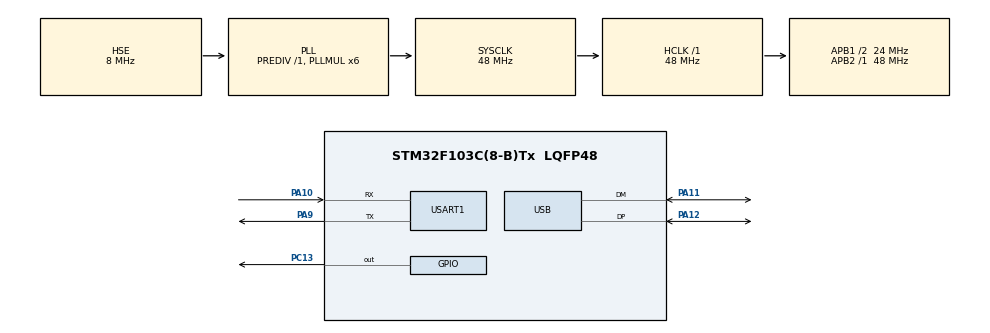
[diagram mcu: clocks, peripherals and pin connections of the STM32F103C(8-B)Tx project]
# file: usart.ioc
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Dma.Request0=USART1_RX
Dma.Request1=USART1_TX
Dma.USART1_RX.0.Direction=DMA_PERIPH_TO_MEMORY
Dma.USART1_RX.0.Instance=DMA1_Channel5
Dma.USART1_RX.0.MemDataAlignment=DMA_MDATAALIGN_BYTE
Dma.USART1_RX.0.MemInc=DMA_MINC_ENABLE
Dma.USART1_RX.0.Mode=DMA_NORMAL
Dma.USART1_RX.0.PeriphDataAlignment=DMA_PDATAALIGN_BYTE
Dma.USART1_RX.0.PeriphInc=DMA_PINC_DISABLE
Dma.USART1_RX.0.Priority=DMA_PRIORITY_HIGH
Dma.USART1_TX.1.Direction=DMA_MEMORY_TO_PERIPH
Dma.USART1_TX.1.Instance=DMA1_Channel4
Dma.USART1_TX.1.MemDataAlignment=DMA_MDATAALIGN_BYTE
Dma.USART1_TX.1.MemInc=DMA_MINC_ENABLE
Dma.USART1_TX.1.Mode=DMA_NORMAL
Dma.USART1_TX.1.PeriphDataAlignment=DMA_PDATAALIGN_BYTE
Dma.USART1_TX.1.PeriphInc=DMA_PINC_DISABLE
Dma.USART1_TX.1.Priority=DMA_PRIORITY_HIGH
Mcu.Family=STM32F1
Mcu.Name=STM32F103C(8-B)Tx
Mcu.Package=LQFP48
NVIC.DMA1_Channel4_IRQn=true\:0\:0\:false\:false\:true\:false\:true
NVIC.DMA1_Channel5_IRQn=true\:0\:0\:false\:false\:true\:false\:true
NVIC.PriorityGroup=NVIC_PRIORITYGROUP_4
NVIC.USART1_IRQn=true\:0\:0\:false\:false\:true\:true\:true
NVIC.USB_HP_CAN1_TX_IRQn=true\:0\:0\:false\:false\:true\:true\:true
NVIC.USB_LP_CAN1_RX0_IRQn=true\:0\:0\:false\:false\:true\:false\:true
PA10.Mode=Asynchronous
PA10.Signal=USART1_RX
PA11.Mode=Device
PA11.Signal=USB_DM
PA12.Mode=Device
PA12.Signal=USB_DP
PA13.Mode=Serial_Wire
PA13.Signal=SYS_JTMS-SWDIO
PA14.Mode=Serial_Wire
PA14.Signal=SYS_JTCK-SWCLK
PA9.Mode=Asynchronous
PA9.Signal=USART1_TX
PC13-TAMPER-RTC.GPIO_ModeDefaultOutputPP=GPIO_MODE_OUTPUT_PP
PC13-TAMPER-RTC.GPIO_PuPd=GPIO_NOPULL
PC13-TAMPER-RTC.GPIO_Speed=GPIO_SPEED_FREQ_LOW
PC13-TAMPER-RTC.PinState=GPIO_PIN_RESET
PC13-TAMPER-RTC.Signal=GPIO_Output
PC14-OSC32_IN.Mode=LSE-External-Oscillator
PC14-OSC32_IN.Signal=RCC_OSC32_IN
PC15-OSC32_OUT.Mode=LSE-External-Oscillator
PC15-OSC32_OUT.Signal=RCC_OSC32_OUT
PD0-OSC_IN.Mode=HSE-External-Oscillator
PD0-OSC_IN.Signal=RCC_OSC_IN
PD1-OSC_OUT.Mode=HSE-External-Oscillator
PD1-OSC_OUT.Signal=RCC_OSC_OUT
ProjectManager.HeapSize=0x200
ProjectManager.StackSize=0x400
ProjectManager.TargetToolchain=Makefile
RCC.AHBFreq_Value=48000000
RCC.APB1CLKDivider=RCC_HCLK_DIV2
RCC.APB1Freq_Value=24000000
RCC.APB1TimFreq_Value=48000000
RCC.APB2Freq_Value=48000000
RCC.APB2TimFreq_Value=48000000
RCC.HCLKFreq_Value=48000000
RCC.PLLMUL=RCC_PLL_MUL6
RCC.PLLSourceVirtual=RCC_PLLSOURCE_HSE
RCC.SYSCLKFreq_VALUE=48000000
RCC.SYSCLKSource=RCC_SYSCLKSOURCE_PLLCLK
RCC.USBFreq_Value=48000000
USART1.VirtualMode=VM_ASYNC
USB_DEVICE.CLASS_NAME_FS=CDC
USB_DEVICE.USBD_DEBUG_LEVEL=3
USB_DEVICE.VirtualMode=Cdc
USB_DEVICE.VirtualModeFS=Cdc_FS
VP_USB_DEVICE_VS_USB_DEVICE_CDC_FS.Mode=CDC_FS
board=custom

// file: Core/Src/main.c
/* USER CODE BEGIN Header */
/**
 ******************************************************************************
 * @file           : main.c
 * @brief          : Main program body
 ******************************************************************************
 * @attention
 *
 * <h2><center>&copy; Copyright (c) 2019 STMicroelectronics.
 * All rights reserved.</center></h2>
 *
 * This software component is licensed by ST under BSD 3-Clause license,
 * the "License"; You may not use this file except in compliance with the
 * License. You may obtain a copy of the License at:
 *                        opensource.org/licenses/BSD-3-Clause
 *
 ******************************************************************************
 */
/* USER CODE END Header */

#include "main.h"
#include "usb_device.h"

/* USER CODE BEGIN Includes */

#include <inttypes.h>
#include "usbd_cdc_if.h"
#include "stm32f103xb.h"
#include "stm32f1xx_hal_rcc_ex.h"
#include "stm32f1xx_hal_flash.h"
#include "../../eeprom/eeprom.h"

/* USER CODE END Includes */

UART_HandleTypeDef huart1;
DMA_HandleTypeDef hdma_usart1_rx;
DMA_HandleTypeDef hdma_usart1_tx;

/* USER CODE BEGIN PV */

// eeprom variables
uint16_t VirtAddVarTab[NB_OF_VAR] = {0x5555, 0x6666, 0x7777};
uint16_t VarDataTab[NB_OF_VAR] = {0, 0, 0};

//UART
__IO ITStatus UartReady = RESET;
uint8_t aTxBuffer[256] = "\r\n*smooUART*\r\n";
uint8_t aRxBuffer[RXBUFFERSIZE];

/* Single byte to store input */
uint8_t byte;
uint32_t rxcnt = 0;

/* USER CODE END PV */

void SystemClock_Config(void);
static void MX_GPIO_Init(void);
static void MX_USART1_UART_Init(void);
static void MX_DMA_Init(void);
/* USER CODE BEGIN PFP */

/* This callback is called by the HAL_UART_IRQHandler when the given number of bytes are received */
void HAL_UART_RxCpltCallback(UART_HandleTypeDef *huart)
{
//  BKPT;

  if (huart->Instance == USART1)
  {
    HAL_GPIO_TogglePin(GPIOC, GPIO_PIN_13);
    rxcnt++;
    if(HAL_UART_Receive_DMA(&huart1, (uint8_t *)aRxBuffer, 1) != HAL_OK)
//    if(HAL_UART_Receive_IT(&huart1, (uint8_t *)aRxBuffer, 1) != HAL_OK)
    {
      Error_Handler();
    }
  }
}

void HAL_UART_ErrorCallback(UART_HandleTypeDef *huart)
{
    BKPT;
}

void HAL_UART_TxCpltCallback(UART_HandleTypeDef *huart)
{
//    BKPT;
    if (huart->Instance == USART1)
    {
        /* Set transmission flag: transfer complete */
        UartReady = SET;
    }
//    BKPT;
}

/* USER CODE END PFP */

/* USER CODE BEGIN 0 */

#ifdef __GNUC__
/* With GCC/RAISONANCE, small printf (option LD Linker->Libraries->Small printf
   set to 'Yes') calls __io_putchar() */
#define PUTCHAR_PROTOTYPE int __io_putchar(int ch)
#else
#define PUTCHAR_PROTOTYPE int fputc(int ch, FILE *f)
#endif /* __GNUC__ */
/**
 * @brief  Retargets the C library printf function to the USART.
 * @param  None
 * @retval None
 */
PUTCHAR_PROTOTYPE {
  /* Place your implementation of fputc here */
  /* e.g. write a character to the EVAL_COM1 and Loop until the end of
   * transmission */

// polling
//    HAL_UART_Transmit(&huart1, (uint8_t*)&ch, 1, 0x10);

// interrupt
    HAL_StatusTypeDef stat;

    //check if we can transmit

    UartReady = RESET;

//    stat = HAL_UART_Transmit_IT(&huart1, (uint8_t*)&ch, 1);
    stat = HAL_UART_Transmit_DMA(&huart1, (uint8_t*)&ch, 1);
    if(stat != HAL_OK)
    {
      Error_Handler();
    }

    uint32_t cnt = 0;

    /*## Wait for the end of the transfer ###################################*/
    while (UartReady != SET)
    {
        cnt++;
    }

    UartReady = RESET;

//    while(!(CDC_Transmit_FS((uint8_t *)&ch, 1) == USBD_BUSY));

    return ch;
}

/* USER CODE END 0 */

int main(void)
{

  /* MCU Configuration--------------------------------------------------------*/

  /* Reset of all peripherals, Initializes the Flash interface and the Systick. */
  HAL_Init();

  /* Configure the system clock */
  SystemClock_Config();

  /* USER CODE BEGIN SysInit */

  HAL_FLASH_Unlock();
  EE_Init();

  /* USER CODE END SysInit */

  /* Initialize all configured peripherals */
  MX_GPIO_Init();
  MX_DMA_Init();            //has to be before usart!
  MX_USART1_UART_Init();
//  USB_Enumeration();
//  MX_USB_DEVICE_Init();
  /* USER CODE BEGIN 2 */

//    BKPT;

  HAL_StatusTypeDef stat = HAL_ERROR;
//  stat = HAL_UART_Transmit_IT(&huart1, (uint8_t*)&aTxBuffer, 16);
  stat = HAL_UART_Transmit_DMA(&huart1, (uint8_t*)&aTxBuffer, 16);
  if(stat != HAL_OK)
  {
    Error_Handler();
  }

  while (HAL_UART_GetState(&huart1) != HAL_UART_STATE_READY)
  {
  }

//  HAL_Delay(500);

//  BKPT;

  uint32_t cnt2 = 0;

  /*## Wait for the end of the transfer ###################################*/
  while (UartReady != SET)
  {
      cnt2++;
  }

  UartReady = RESET;

  if(HAL_UART_Receive_DMA(&huart1, (uint8_t *)&aRxBuffer, 1) != HAL_OK)
  {
    Error_Handler();
  }

//  while (UartReady != SET)
//  {
//      cnt2++;
//  }

//  BKPT;

  EE_ReadVariable(VirtAddVarTab[0], &VarDataTab[0]);

  printf("Started:%03d times.\r\n", VarDataTab[0]);

  VarDataTab[0]++;
  EE_WriteVariable(VirtAddVarTab[0], VarDataTab[0]);

  /* USER CODE END 2 */

  /* Infinite loop */
  /* USER CODE BEGIN WHILE */

  int cnt = 0;

  while (1) {
    HAL_GPIO_WritePin(GPIOC, GPIO_PIN_13, GPIO_PIN_RESET);

    /* USER CODE END WHILE */

    /* USER CODE BEGIN 3 */
    printf("keepalive: %05d:%05d:%02x\r\n", cnt++, rxcnt, aRxBuffer[0]);
    HAL_Delay(200);
    HAL_GPIO_WritePin(GPIOC, GPIO_PIN_13, GPIO_PIN_SET);
    HAL_Delay(200);
  }
  /* USER CODE END 3 */
}

void SystemClock_Config(void)
{
  RCC_OscInitTypeDef RCC_OscInitStruct = {0};
  RCC_ClkInitTypeDef RCC_ClkInitStruct = {0};
  RCC_PeriphCLKInitTypeDef PeriphClkInit = {0};

  /** Initializes the CPU, AHB and APB busses clocks
  */
  RCC_OscInitStruct.OscillatorType = RCC_OSCILLATORTYPE_HSE;
  RCC_OscInitStruct.HSEState = RCC_HSE_ON;
  RCC_OscInitStruct.HSEPredivValue = RCC_HSE_PREDIV_DIV1;
  RCC_OscInitStruct.HSIState = RCC_HSI_ON;
  RCC_OscInitStruct.PLL.PLLState = RCC_PLL_ON;
  RCC_OscInitStruct.PLL.PLLSource = RCC_PLLSOURCE_HSE;
  RCC_OscInitStruct.PLL.PLLMUL = RCC_PLL_MUL6;
  if (HAL_RCC_OscConfig(&RCC_OscInitStruct) != HAL_OK)
  {
    Error_Handler();
  }
  /** Initializes the CPU, AHB and APB busses clocks
  */
  RCC_ClkInitStruct.ClockType = RCC_CLOCKTYPE_HCLK|RCC_CLOCKTYPE_SYSCLK
                              |RCC_CLOCKTYPE_PCLK1|RCC_CLOCKTYPE_PCLK2;
  RCC_ClkInitStruct.SYSCLKSource = RCC_SYSCLKSOURCE_PLLCLK;
  RCC_ClkInitStruct.AHBCLKDivider = RCC_SYSCLK_DIV1;
  RCC_ClkInitStruct.APB1CLKDivider = RCC_HCLK_DIV2;
  RCC_ClkInitStruct.APB2CLKDivider = RCC_HCLK_DIV1;

  if (HAL_RCC_ClockConfig(&RCC_ClkInitStruct, FLASH_LATENCY_1) != HAL_OK)
  {
    Error_Handler();
  }
  PeriphClkInit.PeriphClockSelection = RCC_PERIPHCLK_USB;
  PeriphClkInit.UsbClockSelection = RCC_USBCLKSOURCE_PLL;
  if (HAL_RCCEx_PeriphCLKConfig(&PeriphClkInit) != HAL_OK)
  {
    Error_Handler();
  }
}

static void MX_USART1_UART_Init(void)
{

  huart1.Instance = USART1;
  huart1.Init.BaudRate = 115200;
  huart1.Init.WordLength = UART_WORDLENGTH_8B;
  huart1.Init.StopBits = UART_STOPBITS_1;
  huart1.Init.Parity = UART_PARITY_NONE;
  huart1.Init.Mode = UART_MODE_TX_RX;
  huart1.Init.HwFlowCtl = UART_HWCONTROL_NONE;
  huart1.Init.OverSampling = UART_OVERSAMPLING_16;
  if (HAL_UART_Init(&huart1) != HAL_OK)
  {
    Error_Handler();
  }
  /* USER CODE BEGIN USART1_Init 2 */

  /* Peripheral interrupt init*/
//  HAL_NVIC_SetPriority(USART1_IRQn, 0, 1);
//  HAL_NVIC_EnableIRQ(USART1_IRQn);
//  __HAL_UART_ENABLE_IT(&huart1, UART_IT_RXNE);
//  __HAL_UART_ENABLE_IT(&huart1, UART_IT_TXE);
  //__HAL_UART_ENABLE_IT(&huart1, UART_IT_RXNE | UART_IT_TXE);

  /* USER CODE END USART1_Init 2 */

}

static void MX_DMA_Init(void)
{

  /* DMA controller clock enable */
  __HAL_RCC_DMA1_CLK_ENABLE();

  /* DMA interrupt init */
  /* DMA1_Channel4_IRQn interrupt configuration */
  HAL_NVIC_SetPriority(DMA1_Channel4_IRQn, 0, 0);
  HAL_NVIC_EnableIRQ(DMA1_Channel4_IRQn);
  /* DMA1_Channel5_IRQn interrupt configuration */
  HAL_NVIC_SetPriority(DMA1_Channel5_IRQn, 0, 0);
  HAL_NVIC_EnableIRQ(DMA1_Channel5_IRQn);

}

static void MX_GPIO_Init(void)
{
  GPIO_InitTypeDef GPIO_InitStruct = {0};

  /* GPIO Ports Clock Enable */
  __HAL_RCC_GPIOC_CLK_ENABLE();
  __HAL_RCC_GPIOD_CLK_ENABLE();
  __HAL_RCC_GPIOA_CLK_ENABLE();
  __HAL_RCC_GPIOB_CLK_ENABLE();

  /*Configure GPIO pin Output Level */
  HAL_GPIO_WritePin(GPIOC, GPIO_PIN_13, GPIO_PIN_RESET);

  /*Configure GPIO pin : PC13 */
  GPIO_InitStruct.Pin = GPIO_PIN_13;
  GPIO_InitStruct.Mode = GPIO_MODE_OUTPUT_PP;
  GPIO_InitStruct.Pull = GPIO_NOPULL;
  GPIO_InitStruct.Speed = GPIO_SPEED_FREQ_LOW;
  HAL_GPIO_Init(GPIOC, &GPIO_InitStruct);

  /*Configure GPIO pins : PA0 PA1 PA2 PA3
                           PA4 PA5 PA6 PA7
                           PA8 PA15 */
  GPIO_InitStruct.Pin = GPIO_PIN_0|GPIO_PIN_1|GPIO_PIN_2|GPIO_PIN_3
                          |GPIO_PIN_4|GPIO_PIN_5|GPIO_PIN_6|GPIO_PIN_7
                          |GPIO_PIN_8|GPIO_PIN_15;
  GPIO_InitStruct.Mode = GPIO_MODE_ANALOG;
  HAL_GPIO_Init(GPIOA, &GPIO_InitStruct);

  /*Configure GPIO pins : PB0 PB1 PB2 PB10
                           PB11 PB12 PB13 PB14
                           PB15 PB3 PB4 PB5
                           PB6 PB7 PB8 PB9 */
  GPIO_InitStruct.Pin = GPIO_PIN_0|GPIO_PIN_1|GPIO_PIN_2|GPIO_PIN_10
                          |GPIO_PIN_11|GPIO_PIN_12|GPIO_PIN_13|GPIO_PIN_14
                          |GPIO_PIN_15|GPIO_PIN_3|GPIO_PIN_4|GPIO_PIN_5
                          |GPIO_PIN_6|GPIO_PIN_7|GPIO_PIN_8|GPIO_PIN_9;
  GPIO_InitStruct.Mode = GPIO_MODE_ANALOG;
  HAL_GPIO_Init(GPIOB, &GPIO_InitStruct);

}

/* USER CODE BEGIN 4 */

//PULL DOWN USB DP TO FORCE RENUMERATION
void USB_Enumeration()
{
    GPIO_InitTypeDef GPIO_InitStruct = {0};

    /*Configure GPIO pin Output Level */
    HAL_GPIO_WritePin(GPIOA, GPIO_PIN_12, GPIO_PIN_RESET);

    /*Configure GPIO pin : PA12 */
    GPIO_InitStruct.Pin = GPIO_PIN_12;
    GPIO_InitStruct.Mode = GPIO_MODE_OUTPUT_PP;
    GPIO_InitStruct.Pull = GPIO_PULLUP;
    GPIO_InitStruct.Speed = GPIO_SPEED_FREQ_LOW;
    HAL_GPIO_Init(GPIOA, &GPIO_InitStruct);

    HAL_Delay(100);
}

/* USER CODE END 4 */

void Error_Handler(void)
{
  /* USER CODE BEGIN Error_Handler_Debug */
  /* User can add his own implementation to report the HAL error return state */
  printf("HAL ERROR!!!");
  while (1) {
    HAL_GPIO_WritePin(GPIOC, GPIO_PIN_13, GPIO_PIN_RESET);
    HAL_Delay(100);
    HAL_GPIO_WritePin(GPIOC, GPIO_PIN_13, GPIO_PIN_SET);
    HAL_Delay(100);
  }
  /* USER CODE END Error_Handler_Debug */
}

#ifdef  USE_FULL_ASSERT
/**
  * @brief  Reports the name of the source file and the source line number
  *         where the assert_param error has occurred.
  * @param  file: pointer to the source file name
  * @param  line: assert_param error line source number
  * @retval None
  */
void assert_failed(uint8_t *file, uint32_t line)
{
  /* USER CODE BEGIN 6 */
  /* User can add his own implementation to report the file name and line
     number,
     tex: printf("Wrong parameters value: file %s on line %d\r\n", file, line)
   */

  printf("Wrong parameters value: file %s on line %lu\r\n", file, (long unsigned int)line);

  /* USER CODE END 6 */
}
#endif /* USE_FULL_ASSERT */

/************************ (C) COPYRIGHT STMicroelectronics *****END OF FILE****/
